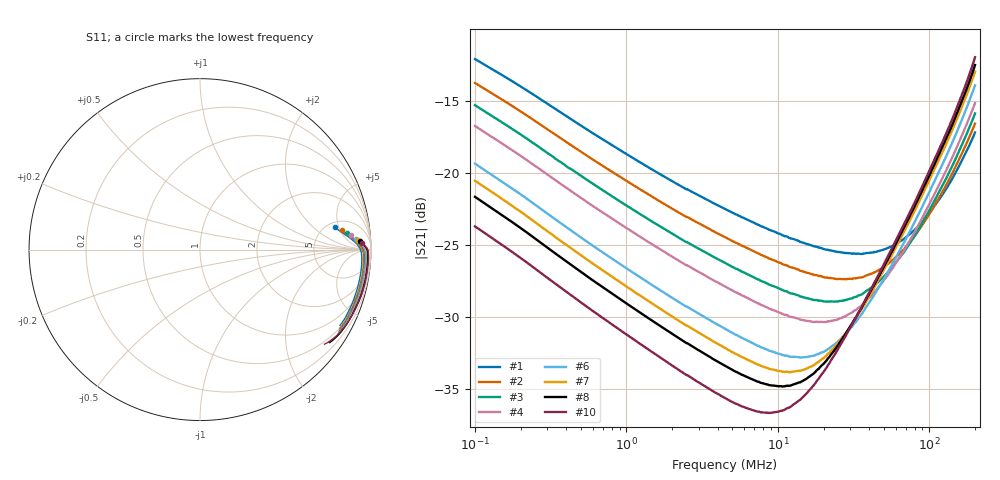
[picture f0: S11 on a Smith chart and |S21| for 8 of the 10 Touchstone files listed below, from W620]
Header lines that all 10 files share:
#  HZ  S  RI  R  50.00
! Rohde & Schwarz Vector Network Analyzer
! Rohde-Schwarz,ZNLE6-2Port,1323001256200024,1.71.1.10-23.02.1.238
! freq[Hz]  re:S11  im:S11  re:S21  im:S21  re:S12  im:S12  re:S22  im:S22
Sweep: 100 kHz to 200 MHz
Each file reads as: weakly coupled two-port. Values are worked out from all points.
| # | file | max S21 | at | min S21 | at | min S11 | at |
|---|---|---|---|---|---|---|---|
| 1 | 08.s2p | -12.11 dB | 100 kHz | -25.6 dB | 35.62 MHz | -1.9 dB | 100 kHz |
| 2 | 09.s2p | -13.77 dB | 100 kHz | -27.4 dB | 27.72 MHz | -1.5 dB | 100 kHz |
| 3 | 10.s2p | -15.31 dB | 100 kHz | -28.9 dB | 21.08 MHz | -1.2 dB | 100 kHz |
| 4 | 11.s2p | -15.17 dB | 200 MHz | -30.3 dB | 18.53 MHz | -1.0 dB | 100 kHz |
| 5 | 12.s2p | -14.31 dB | 200 MHz | -31.6 dB | 15.56 MHz | -0.9 dB | 100 kHz |
| 6 | 13.s2p | -13.93 dB | 200 MHz | -32.8 dB | 13.99 MHz | -0.7 dB | 100 kHz |
| 7 | 14.s2p | -12.99 dB | 200 MHz | -33.8 dB | 12.01 MHz | -0.6 dB | 100 kHz |
| 8 | 15.s2p | -12.53 dB | 200 MHz | -34.8 dB | 10.64 MHz | -0.6 dB | 200 MHz |
| 9 | 16.s2p | -12.08 dB | 200 MHz | -35.7 dB | 9.137 MHz | -0.7 dB | 200 MHz |
| 10 | 17.s2p | -11.99 dB | 200 MHz | -36.6 dB | 8.664 MHz | -0.8 dB | 200 MHz |
